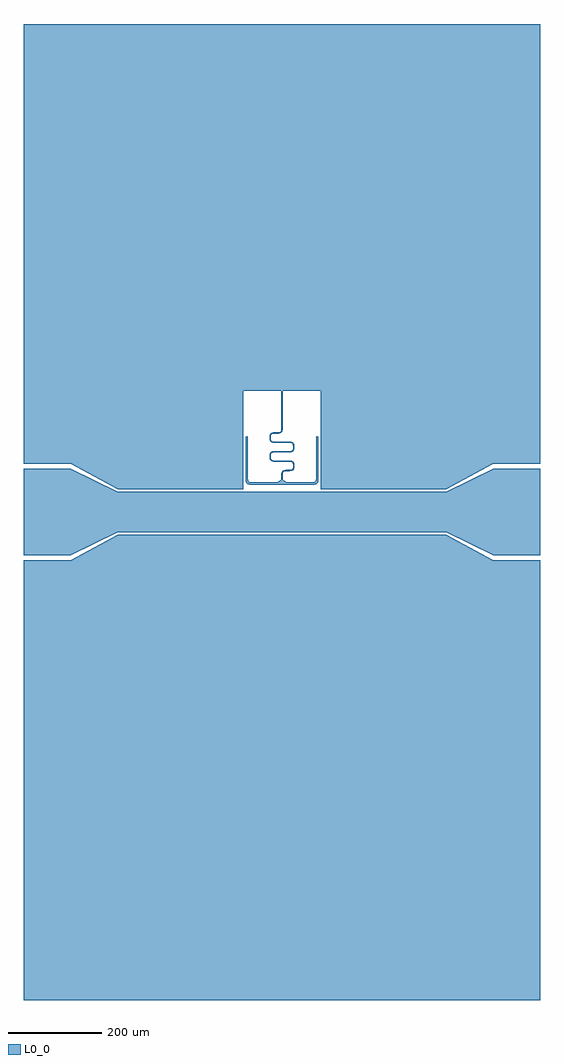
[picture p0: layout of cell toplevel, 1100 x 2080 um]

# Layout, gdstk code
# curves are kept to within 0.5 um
import gdstk
lib = gdstk.Library(unit=1e-6, precision=1e-09)
def P(c, l, *ps):  # polygons
    for p in ps: c.add(gdstk.Polygon(p, *l))
L0_0 = (0, 0)

toplevel = lib.new_cell('toplevel')
P(toplevel, L0_0, [(82.5,258.5),(82.5,48.5),(350,48.5),(450,102.575),(550,102.575),(550,1040),(-550,1040),(-550,102.575),(-450,102.575),(-350,48.5),(-82.5,48.5),(-82.5,258.5)],
  [(550,-1040),(550,-102.575),(450,-102.575),(350,-48.5),(-350,-48.5),(-450,-102.575),(-550,-102.575),(-550,-1040)],
  [(-75.109,160.998),(-76.768,160.268),(-77.498,158.609),(-77.495,69.262),(-76.51,63.737),(-73.502,60.154),(-70.563,58.918),(-66.738,58.505),(66.879,58.507),(72.263,59.489),(75.811,62.445),(77.108,65.545),(77.499,69.678),(77.5,158.5),(76.343,160.608),(73.846,160.717),(72.502,158.609),(72.493,69.17),(72.07,66.098),(70.83,64.381),(66.336,63.501),(-66.125,63.5),(-70.871,64.409),(-72.426,67.868),(-72.502,158.609),(-73.311,160.343)],
  [(1.25,68.5),(1.295,81.307),(2.304,84.966),(3.621,86.251),(5.626,87.006),(19.01,87.4),(21.617,88.073),(23.679,89.358),(25.387,91.788),(26.163,95.062),(26.163,101.938),(25.189,105.636),(24.106,107.219),(22.643,108.408),(18.533,109.655),(-16.557,109.753),(-20.786,110.437),(-22.373,111.596),(-23.588,114.583),(-23.666,121.79),(-23.148,124.087),(-21.198,126.357),(-18.684,127.121),(16.315,127.251),(19.298,127.441),(21.854,128.176),(23.838,129.507),(25.212,131.41),(26.011,133.912),(26.238,140.585),(25.75,144.202),(24.179,147.138),(21.569,148.947),(19.539,149.519),(-18.527,149.859),(-20.486,150.313),(-21.955,151.17),(-22.924,152.426),(-23.521,154.201),(-23.6,162.34),(-22.972,164.48),(-21.8,165.958),(-20.314,166.75),(-18.369,167.158),(-7.361,167.282),(-4.056,167.824),(-2.266,168.647),(-0.858,169.821),(0.879,173.283),(1.249,177.275),(1.25,258.5),(-1.25,258.5),(-1.251,177.328),(-1.543,173.903),(-2.782,171.422),(-5.111,170.117),(-7.686,169.77),(-18.914,169.612),(-21.474,168.986),(-23.473,167.82),(-25.116,165.776),(-26.019,163.039),(-26.249,157.185),(-25.965,153.671),(-25.141,151.27),(-23.759,149.431),(-21.76,148.134),(-19.25,147.434),(16.854,147.242),(20.52,146.674),(22.395,145.378),(23.439,143.171),(23.746,140.142),(23.55,134.353),(22.972,132.52),(22.005,131.215),(20.52,130.326),(18.527,129.859),(-16.857,129.743),(-20.992,129.16),(-23.597,127.715),(-25.302,125.402),(-26.112,122.414),(-26.25,117.85),(-26.002,113.864),(-25.015,111.039),(-23.176,108.948),(-20.508,107.695),(-16.675,107.254),(17.969,107.194),(21.137,106.391),(22.956,104.511),(23.688,101.549),(23.684,95.41),(23.106,92.813),(21.826,91.063),(20.314,90.25),(18.29,89.834),(5.025,89.435),(2.221,88.324),(0.263,86.413),(-0.706,84.347),(-1.172,81.843),(-1.25,68.5)],
  [(10,63.5),(1.25,68.5),(-1.25,68.5),(-10,63.5)],
  [(-350,43.5),(-450,92),(-550,92),(-550,-92),(-450,-92),(-350,-43.5),(350,-43.5),(450,-92),(550,-92),(550,92),(450,92),(350,43.5)])

lib.write_gds('toplevel.gds')
